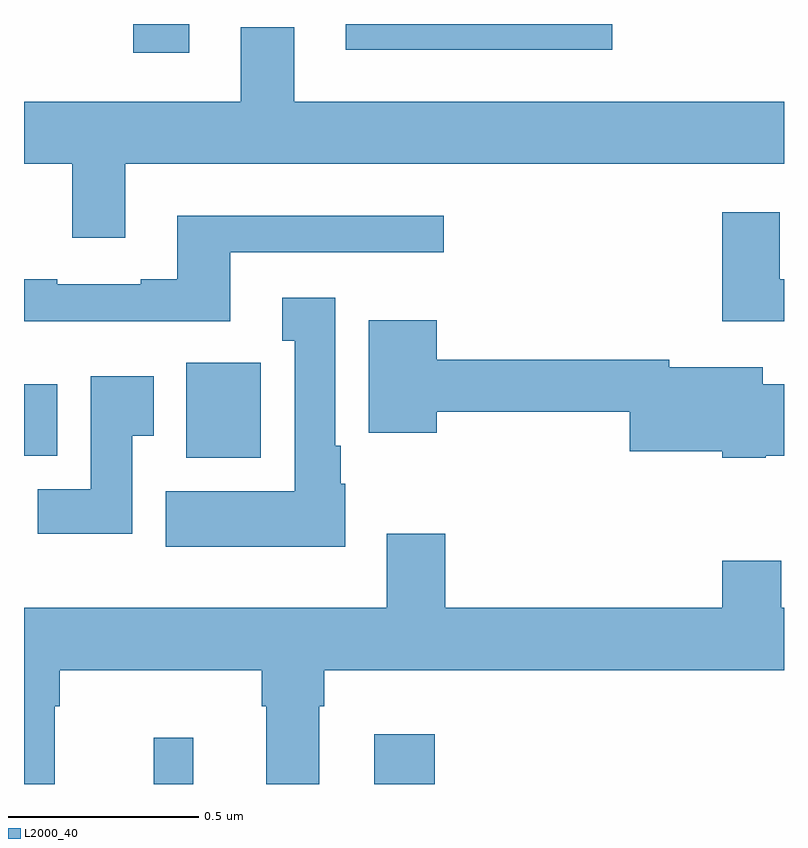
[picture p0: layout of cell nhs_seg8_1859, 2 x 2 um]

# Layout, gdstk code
import gdstk
lib = gdstk.Library(unit=1e-6, precision=1e-09)
def R(c, l, rs):  # rectangles x0, y0, x1, y1
    for r in rs: c.add(gdstk.rectangle(r[:2], r[2:], *l))
def P(c, l, *ps):  # polygons
    for p in ps: c.add(gdstk.Polygon(p, *l))
L2000_40 = (2000, 40)

nhs_seg8_1859 = lib.new_cell('nhs_seg8_1859')
R(nhs_seg8_1859, L2000_40, [(136.342,1082.9,136.445,1083.022), (136.922,1082.9,137.081,1083.031), (136.427,1083.758,136.623,1084.009), (136,1083.764,136.087,1083.952), (136.288,1084.824,136.435,1084.9), (136.847,1084.832,137.548,1084.9)])
P(nhs_seg8_1859, L2000_40, [(136.267,1084.532),(138,1084.532),(138,1084.696),(136.711,1084.696),(136.711,1084.891),(136.571,1084.891),(136.571,1084.696),(136,1084.696),(136,1084.532),(136.127,1084.532),(136.127,1084.338),(136.267,1084.338)],
  [(138,1084.228),(137.989,1084.228),(137.989,1084.405),(137.837,1084.405),(137.837,1084.118),(138,1084.118)],
  [(136.543,1084.299),(137.104,1084.299),(137.104,1084.396),(136.403,1084.396),(136.403,1084.228),(136.307,1084.228),(136.307,1084.215),(136.087,1084.215),(136.087,1084.228),(136,1084.228),(136,1084.118),(136.543,1084.118)],
  [(136.846,1083.69),(136.834,1083.69),(136.834,1083.79),(136.819,1083.79),(136.819,1084.18),(136.679,1084.18),(136.679,1084.067),(136.712,1084.067),(136.712,1083.67),(136.373,1083.67),(136.373,1083.524),(136.846,1083.524)],
  [(137.952,1083.764),(138,1083.764),(138,1083.952),(137.944,1083.952),(137.944,1083.997),(137.698,1083.997),(137.698,1084.016),(137.086,1084.016),(137.086,1084.12),(136.907,1084.12),(136.907,1083.824),(137.086,1083.824),(137.086,1083.88),(137.594,1083.88),(137.594,1083.776),(137.838,1083.776),(137.838,1083.758),(137.952,1083.758)],
  [(136.285,1083.817),(136.342,1083.817),(136.342,1083.973),(136.175,1083.973),(136.175,1083.676),(136.036,1083.676),(136.036,1083.558),(136.285,1083.558)],
  [(136,1082.9),(136.081,1082.9),(136.081,1083.104),(136.094,1083.104),(136.094,1083.2),(136.625,1083.2),(136.625,1083.104),(136.637,1083.104),(136.637,1082.9),(136.777,1082.9),(136.777,1083.104),(136.79,1083.104),(136.79,1083.2),(138,1083.2),(138,1083.364),(137.993,1083.364),(137.993,1083.488),(137.837,1083.488),(137.837,1083.364),(137.108,1083.364),(137.108,1083.559),(136.955,1083.559),(136.955,1083.364),(136,1083.364)])

lib.write_gds('nhs_seg8_1859.gds')
